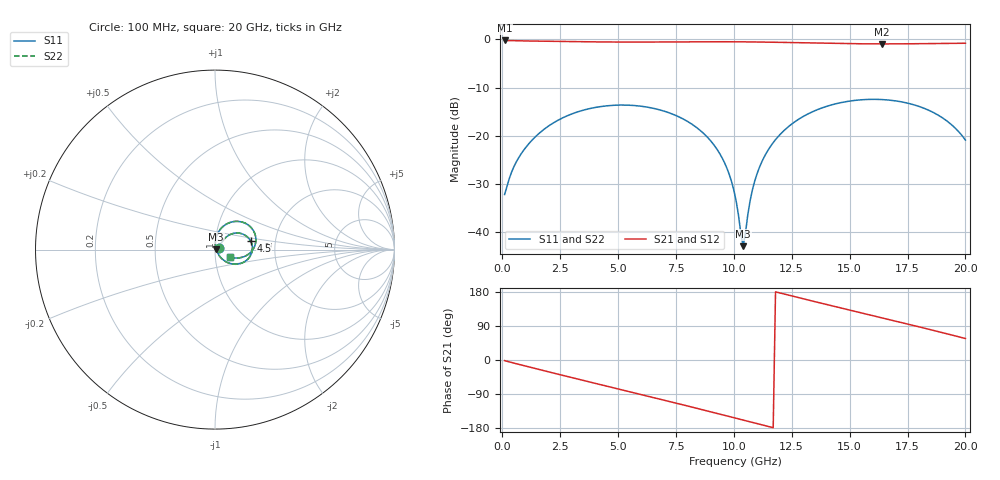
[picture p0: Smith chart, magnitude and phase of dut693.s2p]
! Touchstone file exported from HFSS 2026.1.0
!  File:  C:/ffzhzh/LocalFiles/Ansys_Project_Files/temp_train_TSV_RDL_693_1783135671_53076.aedt
!  Generated:  11:36:26 AM Jul  4, 2026
!  Design:  TSV_RDL
!  Project:  temp_train_TSV_RDL_693_1783135671_53076
! Variables:
!  h_bsmrdl = 5.14um
!  h_ox = 20um
!  h_rdl = 5um
!  h_sub = 84.75um
!  h_tmrdl = 2.53um
!  h_tsv = 84.75um
!  h_via = 3um
!  l_bsmrdl = 242.54um
!  l_sub = 4821.69um
!  l_tmrdl = 889.01um
!  m_sub = 200um
!  pitch = 36.93um
!  r_tsv = 14.2um
!  s_tmrdl = 10um
!  w_bsmrdl = 20.43um
!  w_sub = 500um
!  w_tmrdl = 25.58um
!  x_tsv_center1 = 901.8um
!  x_tsv_center2 = 1164.77um
!  x_tsv_center3 = 2079.36um
!  x_tsv_center4 = 2342.33um
!  x_tsv_center5 = 3256.92um
!  x_tsv_center6 = 3519.89um
# GHz S MA R 50.000000
! Terminal data exported
! Port[1] = TM_RDL1_1_T1
! Port[2] = TM_RDL5_1_T1
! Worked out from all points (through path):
!   200 points, 100 MHz to 20 GHz, reference 50 ohm
!   highest |S21| = -0.20 dB at 100 MHz (marker M1); lowest = -0.9 dB at 16.4 GHz (marker M2)
!   group delay of S21, straight-line fit = 42 ps
!   lowest |S11| = -42.9 dB at 10.4 GHz (marker M3), VSWR 1.01, Z = 50.7 + j0.194 ohm
!   |S11| at or under -10 dB: start of sweep to end of sweep
!   |S22| runs from -43.9 to -12.4 dB; largest |S21 - S12| = 1.7e-14
!   S11 on the Smith chart (normalised r, x): 100 MHz: 1.05, +0.02; 4.5 GHz: 1.49, +0.14; 20 GHz: 1.17, -0.10
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0.1  0.02457 19.7  0.9771 -1.7  0.9771 -1.7  0.02457 19.7
! Gamma 0 0 0 0
! Port Impedance 50 0 50 0
0.6  0.0533 46.4  0.9694 -9.7  0.9694 -9.7  0.0533 46.4
1.3  0.09093 48.4  0.9633 -20.5  0.9633 -20.5  0.09094 48.4
2.3  0.1404 40.4  0.9555 -35.8  0.9555 -35.8  0.1404 40.4
3.5  0.1845 26.1  0.9469 -53.9  0.9469 -53.9  0.1846 26.1
4.5  0.2046 13.0  0.9419 -68.9  0.9419 -68.9  0.2046 13.0
6.8  0.1858 -18.5  0.9416 -103.1  0.9416 -103.1  0.1859 -18.7
8  0.141 -35.2  0.9453 -121.3  0.9453 -121.3  0.1411 -35.4
9  0.08854 -48.3  0.9475 -136.7  0.9475 -136.7  0.08861 -48.7
9.7  0.04611 -54.5  0.9474 -147.6  0.9474 -147.6  0.04612 -55.4
10.1  0.02102 -49.5  0.9465 -153.8  0.9465 -153.8  0.0209 -51.5
10.4  0.007144 15.6  0.9454 -158.5  0.9454 -158.5  0.006415 14.5
10.6  0.01497 74.6  0.9444 -161.6  0.9444 -161.6  0.01454 76.9
10.8  0.02733 84.9  0.9433 -164.7  0.9433 -164.7  0.02705 86.4
11.3  0.05959 85.7  0.9398 -172.5  0.9398 -172.5  0.05941 86.4
12.2  0.1153 75.6  0.9316 173.7  0.9316 173.7  0.1152 76.0
13.4  0.1778 59.4  0.9187 155.5  0.9187 155.5  0.1778 59.6
14.9  0.2274 38.7  0.9052 133.2  0.9052 133.2  0.2274 38.8
16.4  0.2379 18.1  0.9 111.2  0.9 111.2  0.2379 18.2
16.7  0.2349 14.0  0.9001 106.8  0.9001 106.8  0.2349 14.1
18.6  0.1754 -11.5  0.9077 78.4  0.9077 78.4  0.1755 -11.3
20  0.09041 -26.5  0.9142 56.7  0.9142 56.7  0.09064 -26.3
